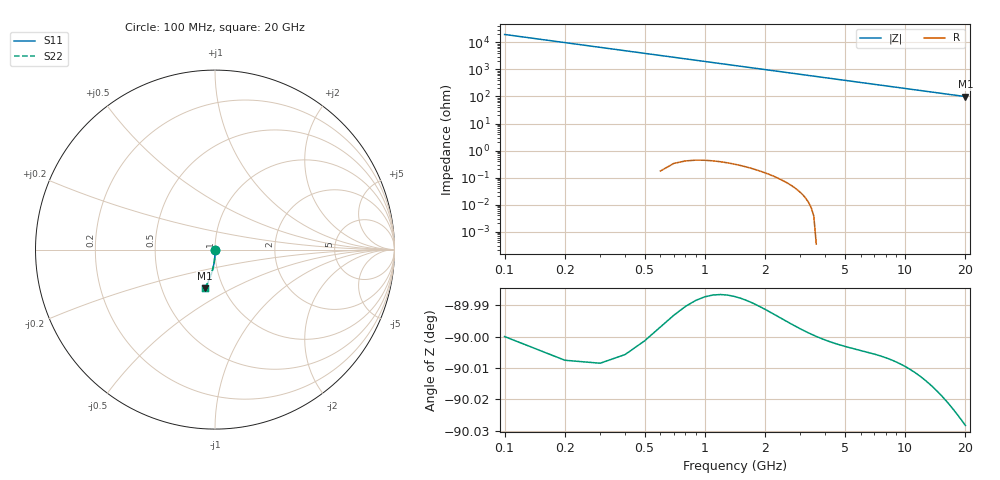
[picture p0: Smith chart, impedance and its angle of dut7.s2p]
! Touchstone file exported from HFSS 2026.1.0
!  File:  C:/ffzhzh/LocalFiles/Ansys_Project_Files/temp_train_TSV_7_1782957877_45308.aedt
!  Generated:  10:05:59 AM Jul  2, 2026
!  Design:  TSV
!  Project:  temp_train_TSV_7_1782957877_45308
! Variables:
!  h_bsmrdl = 2um
!  h_ox = 20um
!  h_rdl = 5um
!  h_sub = 93.07um
!  h_tmrdl = 5um
!  h_tsv = 93.07um
!  h_via = 3um
!  l_bsmrdl = 300um
!  l_sub = 418.94um
!  l_tmrdl = 200um
!  m_sub = 200um
!  pitch = 20.2um
!  r_tsv = 9.47um
!  s_tmrdl = 10um
!  w_bsmrdl = 18um
!  w_sub = 500um
!  w_tmrdl = 12um
!  x_tsv_center1 = 206um
!  x_tsv_center2 = 524um
!  x_tsv_center3 = 736um
!  x_tsv_center4 = 1054um
!  x_tsv_center5 = 1266um
!  x_tsv_center6 = 1584um
# GHz S MA R 50.000000
! Terminal data exported
! Port[1] = TSV1_1_T1
! Port[2] = TSV1_1_T2
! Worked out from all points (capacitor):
!   200 points, 100 MHz to 20 GHz, reference 50 ohm
!   read as one part in shunt: C = 80.5 fF near 200 MHz
!   lowest |Z| = 99.3 ohm at 20 GHz (marker M1)
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0.1  0.001061 -79.7  0.9998 -0.1  0.9998 -0.1  0.001061 -79.7
! Gamma 0 0 0 0
! Port Impedance 50 0 50 0
0.2  0.002111 -83.9  0.9998 -0.2  0.9998 -0.2  0.002111 -83.9
0.3  0.003185 -85.2  0.9997 -0.3  0.9997 -0.3  0.003185 -85.2
0.4  0.004279 -85.8  0.9997 -0.3  0.9997 -0.3  0.004279 -85.8
0.5  0.00539 -86.2  0.9996 -0.4  0.9996 -0.4  0.00539 -86.2
0.7  0.007643 -86.9  0.9995 -0.6  0.9995 -0.6  0.007643 -86.9
0.8  0.008777 -87.2  0.9994 -0.7  0.9994 -0.7  0.008777 -87.2
1  0.01105 -87.7  0.9993 -0.8  0.9993 -0.8  0.01105 -87.7
1.2  0.01333 -88.2  0.9992 -1.0  0.9992 -1.0  0.01333 -88.2
1.4  0.01561 -88.6  0.9992 -1.1  0.9992 -1.1  0.01561 -88.6
1.7  0.01902 -89.1  0.9991 -1.4  0.9991 -1.4  0.01902 -89.1
2  0.02244 -89.5  0.9989 -1.6  0.9989 -1.6  0.02244 -89.5
2.7  0.0304 -90.4  0.9986 -2.2  0.9986 -2.2  0.0304 -90.4
3.5  0.03951 -91.3  0.9981 -2.8  0.9981 -2.8  0.03951 -91.3
4.2  0.04749 -91.9  0.9977 -3.4  0.9977 -3.4  0.04749 -91.9
5  0.05662 -92.6  0.9971 -4.0  0.9971 -4.0  0.05662 -92.6
6.8  0.07713 -94.2  0.9954 -5.4  0.9954 -5.4  0.07713 -94.2
8.3  0.09417 -95.5  0.9938 -6.6  0.9938 -6.6  0.09417 -95.5
10.1  0.1145 -97.0  0.9914 -8.0  0.9914 -8.0  0.1145 -97.0
13.4  0.1514 -99.7  0.9861 -10.5  0.9861 -10.5  0.1514 -99.7
16.7  0.1876 -102.3  0.9795 -13.1  0.9795 -13.1  0.1876 -102.3
20  0.2229 -104.8  0.9718 -15.6  0.9718 -15.6  0.2229 -104.8
